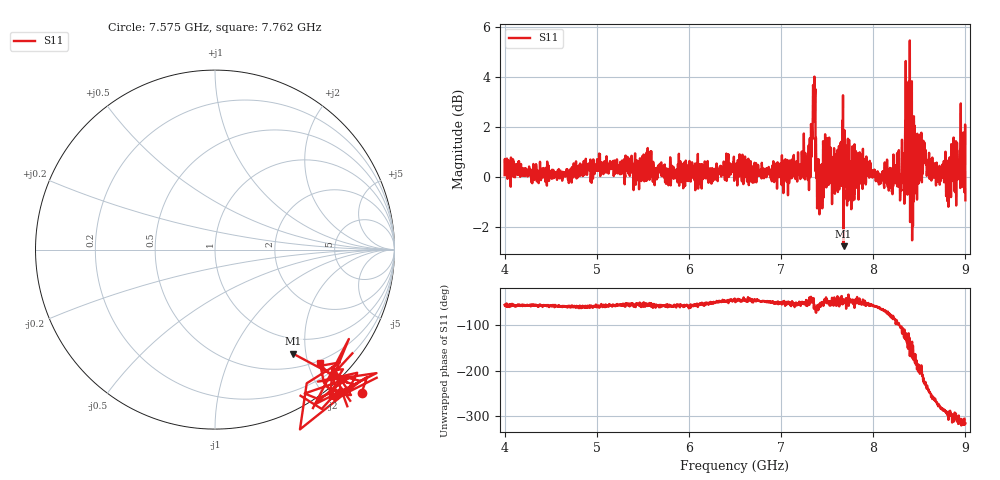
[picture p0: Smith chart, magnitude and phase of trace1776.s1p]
! Created with skrf 1.8.0 (http://scikit-rf.org).
# Hz S RI R 50.0
!freq ReS11 ImS11
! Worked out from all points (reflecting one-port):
!   1601 points, 4 GHz to 9 GHz, reference 50 ohm
!   lowest |S11| = -2.8 dB at 7.678 GHz (marker M1), VSWR 6.30, Z = 36.1 - j88.7 ohm
!   phase of S11 starts at -56 deg and turns -259 deg over the sweep
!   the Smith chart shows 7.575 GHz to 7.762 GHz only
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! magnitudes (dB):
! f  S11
! 4 GHz  0.1
! 4.625 GHz  -0.2
! 5.25 GHz  0.1
! 5.875 GHz  0.0
! 6.5 GHz  0.3
! 7.125 GHz  0.2
! 7.297 GHz  0.5
! 7.316 GHz  0.1
! 7.347 GHz  3.7
! 7.369 GHz  3.2
! 7.4 GHz  -0.1
! 7.409 GHz  -0.4
! 7.525 GHz  1.0
! 7.578 GHz  0.9
! 7.647 GHz  1.4
! 7.678 GHz  -2.8
! 7.75 GHz  -0.6
! 7.891 GHz  0.2
! 8.316 GHz  -0.2
! 8.331 GHz  0.5
! 8.375 GHz  -0.1
! 8.394 GHz  0.4
! 8.447 GHz  2.1
! 8.459 GHz  -0.7
! 8.534 GHz  0.7
! 8.722 GHz  -0.3
! 8.972 GHz  0.8
! 9 GHz  -0.9
